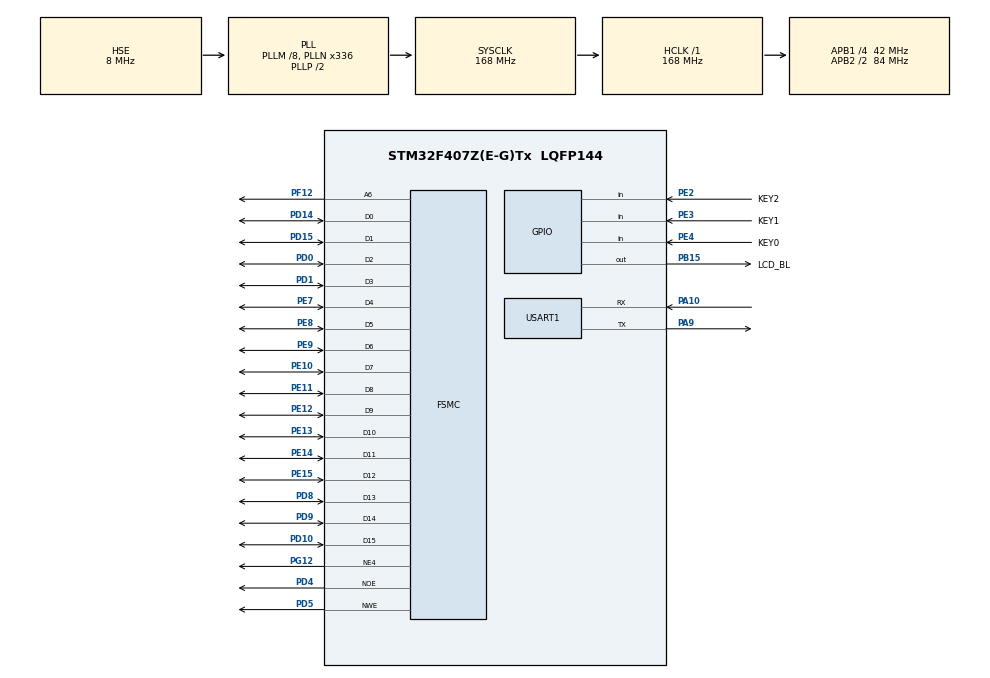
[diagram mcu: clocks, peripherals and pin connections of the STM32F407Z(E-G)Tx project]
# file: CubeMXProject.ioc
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FSMC.AddressSetupTime1=0x0F
FSMC.BusTurnAroundDuration1=0
FSMC.DataSetupTime1=60
FSMC.ExtendedAddressSetupTime1=9
FSMC.ExtendedBusTurnAroundDuration1=0
FSMC.ExtendedDataSetupTime1=9
FSMC.ExtendedMode1=FSMC_EXTENDED_MODE_ENABLE
Mcu.Family=STM32F4
Mcu.Name=STM32F407Z(E-G)Tx
Mcu.Package=LQFP144
NVIC.PriorityGroup=NVIC_PRIORITYGROUP_4
NVIC.TIM3_IRQn=true\:0\:0\:false\:false\:true\:true\:true\:true
NVIC.USART1_IRQn=true\:0\:0\:false\:false\:true\:true\:true\:true
PA10.Mode=Asynchronous
PA10.Signal=USART1_RX
PA13.Mode=Serial_Wire
PA13.Signal=SYS_JTMS-SWDIO
PA14.Mode=Serial_Wire
PA14.Signal=SYS_JTCK-SWCLK
PA9.Mode=Asynchronous
PA9.Signal=USART1_TX
PB15.GPIO_Label=LCD_BL
PB15.Signal=GPIO_Output
PD0.Signal=FSMC_D2_DA2
PD1.Signal=FSMC_D3_DA3
PD10.Signal=FSMC_D15_DA15
PD14.Signal=FSMC_D0_DA0
PD15.Signal=FSMC_D1_DA1
PD4.Signal=FSMC_NOE
PD5.Signal=FSMC_NWE
PD8.Signal=FSMC_D13_DA13
PD9.Signal=FSMC_D14_DA14
PE10.Signal=FSMC_D7_DA7
PE11.Signal=FSMC_D8_DA8
PE12.Signal=FSMC_D9_DA9
PE13.Signal=FSMC_D10_DA10
PE14.Signal=FSMC_D11_DA11
PE15.Signal=FSMC_D12_DA12
PE2.GPIO_Label=KEY2
PE2.Signal=GPIO_Input
PE3.GPIO_Label=KEY1
PE3.Signal=GPIO_Input
PE4.GPIO_Label=KEY0
PE4.Signal=GPIO_Input
PE7.Signal=FSMC_D4_DA4
PE8.Signal=FSMC_D5_DA5
PE9.Signal=FSMC_D6_DA6
PF12.Signal=FSMC_A6
PG12.Mode=NorPsramChipSelect4_1
PG12.Signal=FSMC_NE4
PH0-OSC_IN.Mode=HSE-External-Oscillator
PH0-OSC_IN.Signal=RCC_OSC_IN
PH1-OSC_OUT.Mode=HSE-External-Oscillator
PH1-OSC_OUT.Signal=RCC_OSC_OUT
ProjectManager.HeapSize=0x200
ProjectManager.StackSize=0x400
ProjectManager.TargetToolchain=MDK-ARM V5.27
RCC.48MHZClocksFreq_Value=84000000
RCC.AHBFreq_Value=168000000
RCC.APB1CLKDivider=RCC_HCLK_DIV4
RCC.APB1Freq_Value=42000000
RCC.APB1TimFreq_Value=84000000
RCC.APB2CLKDivider=RCC_HCLK_DIV2
RCC.APB2Freq_Value=84000000
RCC.APB2TimFreq_Value=168000000
RCC.CortexFreq_Value=168000000
RCC.HCLKFreq_Value=168000000
RCC.HSE_VALUE=8000000
RCC.HSI_VALUE=16000000
RCC.LSE_VALUE=32768
RCC.PLLM=8
RCC.PLLN=336
RCC.PLLSourceVirtual=RCC_PLLSOURCE_HSE
RCC.SYSCLKFreq_VALUE=168000000
RCC.SYSCLKSource=RCC_SYSCLKSOURCE_PLLCLK
RCC.VCOOutputFreq_Value=336000000
SH.FSMC_A6.0=FSMC_A6,A6_1
SH.FSMC_D0_DA0.0=FSMC_D0,16b-d1
SH.FSMC_D10_DA10.0=FSMC_D10,16b-d1
SH.FSMC_D11_DA11.0=FSMC_D11,16b-d1
SH.FSMC_D12_DA12.0=FSMC_D12,16b-d1
SH.FSMC_D13_DA13.0=FSMC_D13,16b-d1
SH.FSMC_D14_DA14.0=FSMC_D14,16b-d1
SH.FSMC_D15_DA15.0=FSMC_D15,16b-d1
SH.FSMC_D1_DA1.0=FSMC_D1,16b-d1
SH.FSMC_D2_DA2.0=FSMC_D2,16b-d1
SH.FSMC_D3_DA3.0=FSMC_D3,16b-d1
SH.FSMC_D4_DA4.0=FSMC_D4,16b-d1
SH.FSMC_D5_DA5.0=FSMC_D5,16b-d1
SH.FSMC_D6_DA6.0=FSMC_D6,16b-d1
SH.FSMC_D7_DA7.0=FSMC_D7,16b-d1
SH.FSMC_D8_DA8.0=FSMC_D8,16b-d1
SH.FSMC_D9_DA9.0=FSMC_D9,16b-d1
SH.FSMC_NOE.0=FSMC_NOE,Lcd1
SH.FSMC_NWE.0=FSMC_NWE,Lcd1
TIM3.AutoReloadPreload=TIM_AUTORELOAD_PRELOAD_ENABLE
TIM3.Period=10000-1
TIM3.Prescaler=84-1
USART1.VirtualMode=VM_ASYNC
VP_TIM3_VS_ClockSourceINT.Mode=Internal
board=custom

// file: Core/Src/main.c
/* USER CODE BEGIN Header */
/**
  ******************************************************************************
  * @file           : main.c
  * @brief          : Main program body
  ******************************************************************************
  * @attention
  *
  * Copyright (c) 2024 STMicroelectronics.
  * All rights reserved.
  *
  * This software is licensed under terms that can be found in the LICENSE file
  * in the root directory of this software component.
  * If no LICENSE file comes with this software, it is provided AS-IS.
  *
  ******************************************************************************
  */
/* USER CODE END Header */
#include "main.h"
#include "tim.h"
#include "usart.h"
#include "gpio.h"
#include "fsmc.h"

/* USER CODE BEGIN Includes */
#include "lcd.h"
#include "stdio.h"
#include "stdbool.h"
#include "string.h"
#include "arm_const_structs.h"
#include "arm_math.h"
#include "key.h"

/* USER CODE END Includes */

/* USER CODE BEGIN PTD */
#define   RXBUFF_SIZE              32           //定义接收数据的深度

/* USER CODE END PTD */

/* USER CODE BEGIN PV */
/*============================= 全局变量定义 ==================================*/
uint8_t Lcd_String[20];     		 //LCD输出的字符串
uint16_t value = 0;

uint8_t rxBuffer[RXBUFF_SIZE];
uint8_t rxChar;                  //定义接收单个字节的数据
uint16_t rxIndex;
uint8_t dataLength = 0;  // 数据长度
uint8_t receivingData = 0;  // 标志位，表示是否正在接收数据帧

/*-------------------------解析的数据------------------------------*/
uint8_t modeType;
uint32_t frequency;
uint32_t modDepth;
double modDepth_double_mf_h;
double modDepth_double_ma;
uint32_t deltaFreq;
uint8_t old_modeType=0;

/* USER CODE END PV */

void SystemClock_Config(void);

int main(void)
{

  /* MCU Configuration--------------------------------------------------------*/

  /* Reset of all peripherals, Initializes the Flash interface and the Systick. */
  HAL_Init();

  /* Configure the system clock */
  SystemClock_Config();

  /* Initialize all configured peripherals */
  MX_GPIO_Init();
  MX_FSMC_Init();
  MX_USART1_UART_Init();
  MX_TIM3_Init();
  /* USER CODE BEGIN 2 */
	/*============================= 模块初始化 ==================================*/
	lcd_init();

	HAL_TIM_Base_Start_IT(&htim3);          //开启普通中断定时器,用于按键延时
  HAL_UART_Receive_IT(&huart1, (uint8_t *)&rxChar, 1);	 //开启串口中断

  /* USER CODE END 2 */

  /* Infinite loop */
  while (1)
  {

    /* USER CODE BEGIN 3 */
		key_set_value(&value);

		//串口发送测试
//		HAL_UART_Transmit(&huart1, (uint8_t *)"hello windows!\r\n", 16 , 0xffff);
//		HAL_Delay(1000);  //延时1s

		modDepth_double_mf_h=(double)modDepth/10;
		modDepth_double_ma=(double)modDepth/100;

		/*--------------------------LCD显示-------------------------------*/
		lcd_show_string(10, 40, 240, 32, 32, "2023D", BLACK);
		if(old_modeType!=modeType)
		{
			lcd_clear(WHITE);
			old_modeType=modeType;
		}
		switch(modeType)
		{
				case 1:
				{
					lcd_show_string(10, 80, 300, 24, 24, "Modulation Types: AM ", BLUE);
					sprintf((char *)Lcd_String, "Demod Frequency: %ukHz    ", frequency/1000);
					lcd_show_string(10, 120, 300, 24, 24, (char *)Lcd_String, BLUE);
					sprintf((char *)Lcd_String, "Ma: %0.2f", modDepth_double_ma);
					lcd_show_string(10, 160, 300, 24, 24, (char *)Lcd_String, BLUE);
				}break;

				case 2:
				{
					lcd_show_string(10, 80, 300, 24, 24, "Modulation Types: ASK", BLUE);
					sprintf((char *)Lcd_String, "Rc: %ukbs    ", frequency/1000 * 2);
					lcd_show_string(10, 120, 300, 24, 24, (char *)Lcd_String, BLUE);
				}break;

				case 3:
				{
					lcd_show_string(10, 80, 300, 24, 24, "Modulation Types: FM ", BLUE);
					sprintf((char *)Lcd_String, "Demod Frequency: %ukHz    ", frequency/1000);
					lcd_show_string(10, 120, 300, 24, 24, (char *)Lcd_String, BLUE);
					sprintf((char *)Lcd_String, "Mf: %0.1f", modDepth_double_mf_h);
					lcd_show_string(10, 160, 300, 24, 24, (char *)Lcd_String, BLUE);
					sprintf((char *)Lcd_String, "delta_f_max: %uHz", deltaFreq*100);
					lcd_show_string(10, 200, 300, 24, 24, (char *)Lcd_String, BLUE);
				}break;

				case 4:
				{
					lcd_show_string(10, 80, 300, 24, 24, "Modulation Types: FSK", BLUE);
					sprintf((char *)Lcd_String, "Demod Frequency: %ukbs    ", frequency/1000 * 2);
					lcd_show_string(10, 120, 300, 24, 24, (char *)Lcd_String, BLUE);
					sprintf((char *)Lcd_String, "h: %0.1f", modDepth_double_mf_h );
					lcd_show_string(10, 160, 300, 24, 24, (char *)Lcd_String, BLUE);
				}break;

				case 5:
				{
					lcd_show_string(10, 80, 300, 24, 24, "Modulation Types: PSK", BLUE);
					sprintf((char *)Lcd_String, "Demod Frequency: %ukbs    ", frequency/1000 *2);
					lcd_show_string(10, 120, 300, 24, 24, (char *)Lcd_String, BLUE);
				}break;

				case 6:
				{
					lcd_show_string(10, 80, 300, 24, 24, "Modulation Types: CW ", BLUE);
					sprintf((char *)Lcd_String, "Demod Frequency: NONE     ");
					lcd_show_string(10, 120, 300, 24, 24, (char *)Lcd_String, BLUE);
				}break;

				default:
				{
					lcd_show_string(10, 80, 300, 24, 24, "Modulation Types: CW ", BLUE);
					sprintf((char *)Lcd_String, "Demod Frequency: NONE     ");
					lcd_show_string(10, 120, 300, 24, 24, (char *)Lcd_String, BLUE);
				}
		}

//		sprintf((char *)Lcd_String, "Demod_Type: %d      ", modeType);
//		lcd_show_string(10, 80, 240, 24, 24, (char *)Lcd_String, BLUE);
  }
  /* USER CODE END 3 */
}

void SystemClock_Config(void)
{
  RCC_OscInitTypeDef RCC_OscInitStruct = {0};
  RCC_ClkInitTypeDef RCC_ClkInitStruct = {0};

  /** Configure the main internal regulator output voltage
  */
  __HAL_RCC_PWR_CLK_ENABLE();
  __HAL_PWR_VOLTAGESCALING_CONFIG(PWR_REGULATOR_VOLTAGE_SCALE1);

  /** Initializes the RCC Oscillators according to the specified parameters
  * in the RCC_OscInitTypeDef structure.
  */
  RCC_OscInitStruct.OscillatorType = RCC_OSCILLATORTYPE_HSE;
  RCC_OscInitStruct.HSEState = RCC_HSE_ON;
  RCC_OscInitStruct.PLL.PLLState = RCC_PLL_ON;
  RCC_OscInitStruct.PLL.PLLSource = RCC_PLLSOURCE_HSE;
  RCC_OscInitStruct.PLL.PLLM = 8;
  RCC_OscInitStruct.PLL.PLLN = 336;
  RCC_OscInitStruct.PLL.PLLP = RCC_PLLP_DIV2;
  RCC_OscInitStruct.PLL.PLLQ = 4;
  if (HAL_RCC_OscConfig(&RCC_OscInitStruct) != HAL_OK)
  {
    Error_Handler();
  }

  /** Initializes the CPU, AHB and APB buses clocks
  */
  RCC_ClkInitStruct.ClockType = RCC_CLOCKTYPE_HCLK|RCC_CLOCKTYPE_SYSCLK
                              |RCC_CLOCKTYPE_PCLK1|RCC_CLOCKTYPE_PCLK2;
  RCC_ClkInitStruct.SYSCLKSource = RCC_SYSCLKSOURCE_PLLCLK;
  RCC_ClkInitStruct.AHBCLKDivider = RCC_SYSCLK_DIV1;
  RCC_ClkInitStruct.APB1CLKDivider = RCC_HCLK_DIV4;
  RCC_ClkInitStruct.APB2CLKDivider = RCC_HCLK_DIV2;

  if (HAL_RCC_ClockConfig(&RCC_ClkInitStruct, FLASH_LATENCY_5) != HAL_OK)
  {
    Error_Handler();
  }
}

/* USER CODE BEGIN 4 */
/*============================= 数据解析程序 ================================*/
// 修改后的解析数据帧函数，传入频率和种类指针
void parse_data_frame(uint8_t *rxBuffer, uint8_t *modType, uint32_t *frequency, uint32_t *modDepth, uint32_t *deltaFreq)
{
    if (rxBuffer[0] == 0xAD)  // 校验包头
    {
        uint8_t dataLength = rxBuffer[1];  // 获取数据长度
        if (dataLength == 0x0C)  // 校验数据长度
        {
            *modType = rxBuffer[2] - '0';  // 获取调制种类并更新指针

					char freq_str[5] = {0};  // 频率字符串，最后一位放 '\0'
					freq_str[0] = rxBuffer[3];  // '1'
					freq_str[1] = rxBuffer[4];  // '3'
					freq_str[2] = rxBuffer[5];  // '8'
					freq_str[3] = rxBuffer[6];  // '8'
					*frequency = (uint16_t)strtol(freq_str, NULL, 16);
					char Depth_str [5] = {0};  // 频率字符串，最后一位放 '\0'
					Depth_str[0] = rxBuffer[7];  // '1'
					Depth_str[1] = rxBuffer[8];  // '3'
					*modDepth = (uint16_t)strtol(Depth_str, NULL, 16);
					char Delta_str [5] = {0};  // 频率字符串，最后一位放 '\0'
					Delta_str[0] = rxBuffer[9];  // '1'
					Delta_str[1] = rxBuffer[10];  // '3'
					*deltaFreq = (uint16_t)strtol(Delta_str, NULL, 16);
				}
		}
}

/*============================= 串口中断程序 ================================*/
void HAL_UART_RxCpltCallback(UART_HandleTypeDef *huart)
{
    if(huart->Instance == USART1)
    {
        if(rxChar == 0xAD)  // 检查包头
        {
            rxIndex = 0;  // 重置接收索引
            receivingData = 1;  // 开始接收数据
            rxBuffer[rxIndex++] = rxChar;  // 存储包头
        }
        else if (receivingData)
        {
            rxBuffer[rxIndex++] = rxChar;  // 存储数据

            // 确保数据帧长度合法，避免数组越界
            if (rxIndex >= sizeof(rxBuffer))
            {
                receivingData = 0;  // 停止接收，防止溢出
                rxIndex = 0;
            }
            // 检查是否接收完整帧
            else if (rxIndex == rxBuffer[1])  // 包头 + 数据长度
            {
                receivingData = 0;  // 停止接收
                parse_data_frame(rxBuffer, &modeType, &frequency, &modDepth, &deltaFreq);  // 解析数据

                // 清空 rxBuffer
                memset(rxBuffer, 0, sizeof(rxBuffer));
                rxIndex = 0;
            }
        }
        // 继续开启 UART 接收中断
        HAL_UART_Receive_IT(&huart1, (uint8_t *)&rxChar, 1);
    }
}

/* USER CODE END 4 */

void Error_Handler(void)
{
  __disable_irq();
  while (1)
  {
  }
}
